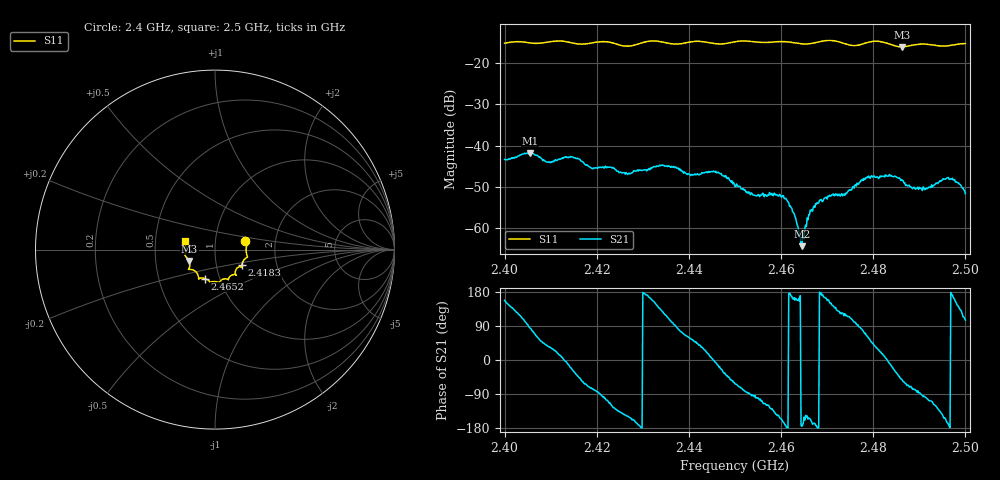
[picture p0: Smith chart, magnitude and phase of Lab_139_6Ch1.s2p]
# Hz S RI R 50
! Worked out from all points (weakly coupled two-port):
!   601 points, 2.4 GHz to 2.5 GHz, reference 50 ohm
!   highest |S21| = -41.75 dB at 2.4055 GHz (marker M1); lowest = -64.4 dB at 2.4645 GHz (marker M2)
!   lowest |S11| = -16.1 dB at 2.4862 GHz (marker M3), VSWR 1.37, Z = 37.2 - j4.87 ohm
!   |S11| at or under -10 dB: start of sweep to end of sweep
!   S12 and S22 are empty: the file has one direction only
!   S11 on the Smith chart (normalised r, x): 2.4 GHz: 1.40, +0.14; 2.4183 GHz: 1.33, -0.24; 2.4652 GHz: 0.85, -0.28; 2.5 GHz: 0.71, +0.07
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2.4e9  0.1678 0.0471  -0.00628 0.00261  0 0  0 0
2.4055e9  0.175 0.0138  0.000794 0.00814  0 0  0 0
2.4095e9  0.1775 -0.0304  0.00513 0.00366  0 0  0 0
2.416667e9  0.1554 -0.0679  0.00384 -0.00521  0 0  0 0
2.418333e9  0.1502 -0.0863  0.00182 -0.00525  0 0  0 0
2.427e9  0.1187 -0.108  -0.00405 -0.00227  0 0  0 0
2.433333e9  0.1171 -0.1413  -0.00426 0.00363  0 0  0 0
2.440667e9  0.0748 -0.1656  0.00261 0.00365  0 0  0 0
2.445833e9  0.0553 -0.1626  0.00485 -0.000587  0 0  0 0
2.45e9  0.0258 -0.1795  0.00147 -0.00284  0 0  0 0
2.454333e9  0.0121 -0.1805  -0.000144 -0.00249  0 0  0 0
2.460833e9  -0.0292 -0.1796  -0.00225 -0.000347  0 0  0 0
2.462667e9  -0.0344 -0.1734  -0.00147 0.000514  0 0  0 0
2.4645e9  -0.0475 -0.1645  -0.000603 -5.16e-05  0 0  0 0
2.465167e9  -0.0545 -0.1615  -0.000941 -0.000374  0 0  0 0
2.466667e9  -0.071 -0.1581  -0.00162 -0.00047  0 0  0 0
2.4785e9  -0.137 -0.1106  0.00173 0.00368  0 0  0 0
2.483333e9  -0.1417 -0.0967  0.00428 -0.000441  0 0  0 0
2.486167e9  -0.1435 -0.0639  0.00246 -0.00301  0 0  0 0
2.491e9  -0.1671 -0.033  -0.000287 -0.00305  0 0  0 0
2.496667e9  -0.1617 0.0227  -0.00392 -0.000125  0 0  0 0
2.5e9  -0.1657 0.0473  -0.000691 0.00252  0 0  0 0
